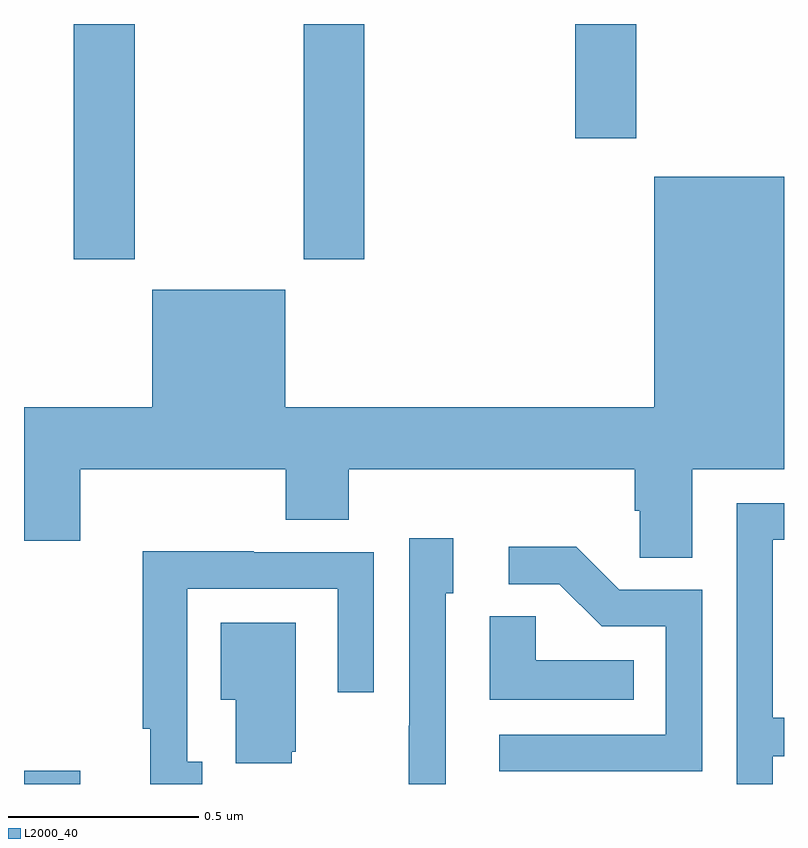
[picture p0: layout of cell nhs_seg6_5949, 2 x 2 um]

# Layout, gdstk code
import gdstk
lib = gdstk.Library(unit=1e-6, precision=1e-09)
def R(c, l, rs):  # rectangles x0, y0, x1, y1
    for r in rs: c.add(gdstk.rectangle(r[:2], r[2:], *l))
def P(c, l, *ps):  # polygons
    for p in ps: c.add(gdstk.Polygon(p, *l))
L2000_40 = (2000, 40)

nhs_seg6_5949 = lib.new_cell('nhs_seg6_5949')
R(nhs_seg6_5949, L2000_40, [(189,954.5,189.148,954.535), (189.131,955.881,189.291,956.5), (189.736,955.881,189.896,956.5), (190.451,956.199,190.611,956.5)])
P(nhs_seg6_5949, L2000_40, [(190.759,955.328),(191,955.328),(191,956.098),(190.658,956.098),(190.658,955.492),(189.688,955.492),(189.688,955.801),(189.338,955.801),(189.338,955.492),(189,955.492),(189,955.14),(189.148,955.14),(189.148,955.328),(189.689,955.328),(189.689,955.195),(189.854,955.195),(189.854,955.328),(190.607,955.328),(190.607,955.219),(190.62,955.219),(190.62,955.096),(190.759,955.096)],
  [(190.971,954.573),(191,954.573),(191,954.674),(190.971,954.674),(190.971,955.143),(191,955.143),(191,955.239),(190.875,955.239),(190.875,954.5),(190.971,954.5)],
  [(190.11,955.002),(190.129,955.002),(190.129,955.147),(190.014,955.147),(190.014,954.653),(190.012,954.653),(190.012,954.5),(190.11,954.5)],
  [(190.785,955.011),(190.566,955.011),(190.453,955.124),(190.275,955.124),(190.275,955.026),(190.409,955.026),(190.52,954.915),(190.689,954.915),(190.689,954.63),(190.251,954.63),(190.251,954.534),(190.785,954.534)],
  [(189.469,954.558),(189.429,954.558),(189.429,955.014),(189.825,955.014),(189.825,954.741),(189.921,954.741),(189.921,955.11),(189.605,955.11),(189.605,955.112),(189.313,955.112),(189.313,954.646),(189.332,954.646),(189.332,954.5),(189.469,954.5)],
  [(190.604,954.826),(190.347,954.826),(190.347,954.941),(190.226,954.941),(190.226,954.722),(190.604,954.722)],
  [(189.704,954.585),(189.715,954.585),(189.715,954.925),(189.518,954.925),(189.518,954.722),(189.557,954.722),(189.557,954.554),(189.704,954.554)])

lib.write_gds('nhs_seg6_5949.gds')
